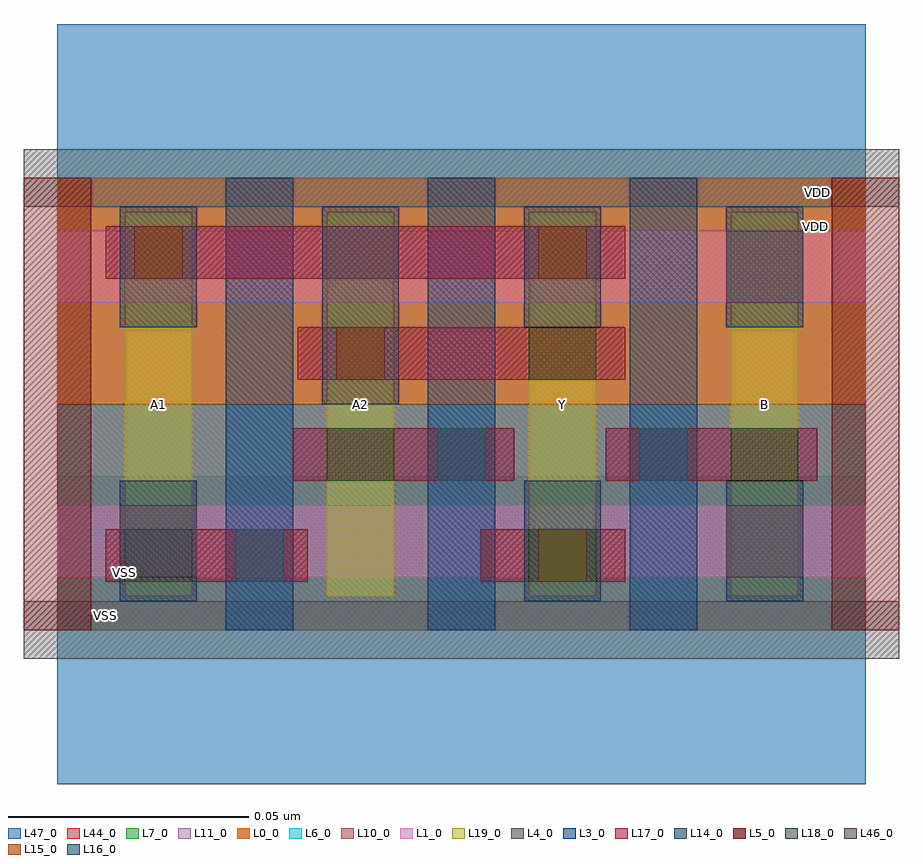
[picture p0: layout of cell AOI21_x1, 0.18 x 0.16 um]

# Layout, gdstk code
import gdstk
lib = gdstk.Library(unit=1e-6, precision=5e-10)
def R(c, l, rs):  # rectangles x0, y0, x1, y1
    for r in rs: c.add(gdstk.rectangle(r[:2], r[2:], *l))
def A(c, l, x, y, w, h, nx, ny, dx, dy):  # array of equal rectangles
    R(c, l, [(x+i*dx, y+j*dy, x+i*dx+w, y+j*dy+h) for i in range(nx) for j in range(ny)])
L0_0 = (0, 0)
L1_0 = (1, 0)
L3_0 = (3, 0)
L4_0 = (4, 0)
L5_0 = (5, 0)
L6_0 = (6, 0)
L7_0 = (7, 0)
L10_0 = (10, 0)
L11_0 = (11, 0)
L14_0 = (14, 0)
L15_0 = (15, 0)
L16_0 = (16, 0)
L17_0 = (17, 0)
L18_0 = (18, 0)
L19_0 = (19, 0)
L44_0 = (44, 0)
L46_0 = (46, 0)
L47_0 = (47, 0)

aoi21_x1 = lib.new_cell('AOI21_x1')
R(aoi21_x1, L0_0, [(0,0.047,0.168,0.094)])
R(aoi21_x1, L1_0, [(0,0.011,0.168,0.026), (0,0.068,0.168,0.083)])
A(aoi21_x1, L3_0, 0.035, 0, 0.014, 0.094, 3, 1, 0.042, 0)
R(aoi21_x1, L4_0, [(-0.007,-0.006,0.175,0.006), (-0.007,0.088,0.175,0.1)])
R(aoi21_x1, L5_0, [(-0.007,0,0.007,0.094), (0.161,0,0.175,0.094)])
R(aoi21_x1, L6_0, [(0,0,0.168,0.047)])
R(aoi21_x1, L7_0, [(0,0.047,0.168,0.094)])
R(aoi21_x1, L10_0, [(0,0,0.168,0.047)])
R(aoi21_x1, L11_0, [(0,0.047,0.168,0.094)])
R(aoi21_x1, L14_0, [(0.013,0.006,0.029,0.031), (0.097,0.006,0.113,0.031), (0.139,0.006,0.155,0.031), (0.055,0.047,0.071,0.088), (0.013,0.063,0.029,0.088), (0.097,0.063,0.113,0.088), (0.139,0.063,0.155,0.088)])
R(aoi21_x1, L15_0, [(0.1,0.01,0.11,0.021), (0.058,0.052,0.068,0.063), (0.016,0.073,0.026,0.084), (0.1,0.073,0.11,0.084)])
R(aoi21_x1, L16_0, [(0.037,0.01,0.047,0.021), (0.079,0.031,0.089,0.042), (0.121,0.031,0.131,0.042)])
R(aoi21_x1, L17_0, [(0.01,0.01,0.052,0.021), (0.088,0.01,0.118,0.021), (0.049,0.031,0.095,0.042), (0.114,0.031,0.158,0.042), (0.05,0.052,0.118,0.063), (0.01,0.073,0.118,0.084)])
R(aoi21_x1, L18_0, [(0.014,0.01,0.028,0.021), (0.014,0.01,0.028,0.021), (0.098,0.01,0.112,0.021), (0.056,0.031,0.07,0.042), (0.14,0.031,0.154,0.042), (0.098,0.052,0.112,0.063)])
A(aoi21_x1, L19_0, 0.014, 0.007, 0.014, 0.08, 4, 1, 0.042, 0)
R(aoi21_x1, L44_0, [(0,0,0.168,0.094)])
R(aoi21_x1, L46_0, [(0.013,0.011,0.029,0.026), (0.139,0.011,0.155,0.026), (0.139,0.068,0.155,0.083)])
R(aoi21_x1, L47_0, [(0,-0.032,0.168,0.032), (0,0.062,0.168,0.126)])
aoi21_x1.add(gdstk.Label('VSS', (0.01,0.003), layer=54, texttype=2))
aoi21_x1.add(gdstk.Label('B', (0.147,0.047), layer=19, texttype=2))
aoi21_x1.add(gdstk.Label('A2', (0.063,0.047), layer=19, texttype=2))
aoi21_x1.add(gdstk.Label('Y', (0.105,0.047), layer=19, texttype=2))
aoi21_x1.add(gdstk.Label('A1', (0.021,0.047), layer=19, texttype=2))
aoi21_x1.add(gdstk.Label('VDD', (0.158,0.091), layer=0, texttype=2))
aoi21_x1.add(gdstk.Label('VSS', (0.014,0.012), layer=47, texttype=2))
aoi21_x1.add(gdstk.Label('VDD', (0.1575,0.084), layer=47, texttype=2))

lib.write_gds('AOI21_x1.gds')
